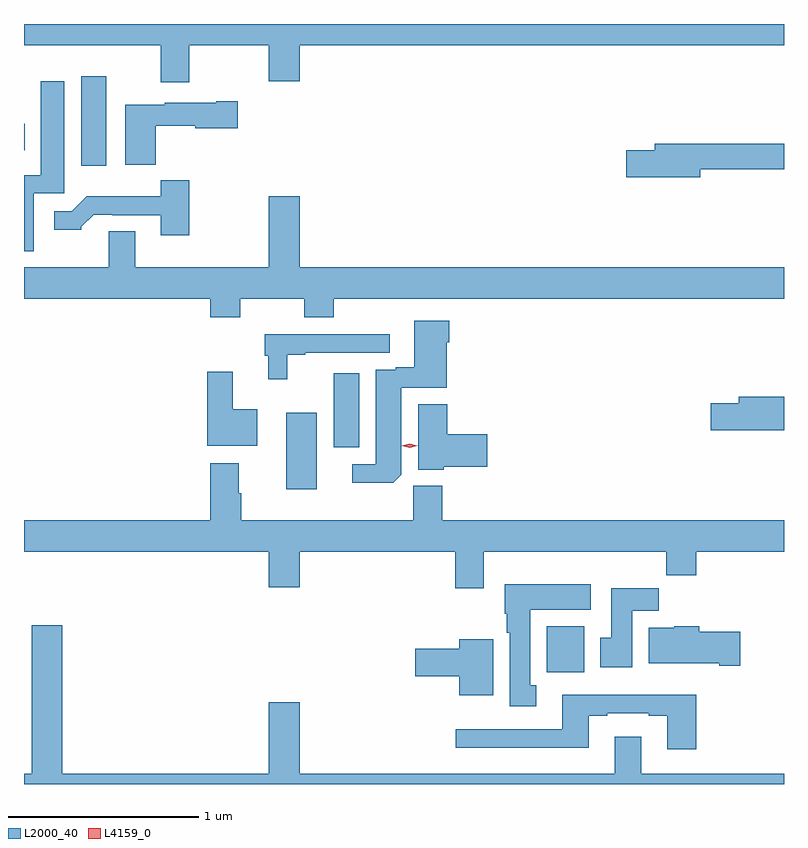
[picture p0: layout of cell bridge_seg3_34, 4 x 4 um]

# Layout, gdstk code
import gdstk
lib = gdstk.Library(unit=1e-6, precision=1e-09)
def R(c, l, rs):  # rectangles x0, y0, x1, y1
    for r in rs: c.add(gdstk.rectangle(r[:2], r[2:], *l))
def P(c, l, *ps):  # polygons
    for p in ps: c.add(gdstk.Polygon(p, *l))
L2000_40 = (2000, 40)
L4159_0 = (4159, 0)

bridge_seg3_34 = lib.new_cell('bridge_seg3_34')
R(bridge_seg3_34, L2000_40, [(717.92,698.948,718.117,699.19), (716.549,699.912,716.71,700.315), (716.798,700.134,716.932,700.522), (715.469,701.616,715.6,702.085), (715.168,701.696,715.171,701.836)])
P(bridge_seg3_34, L2000_40, [(716.037,702.248),(716.456,702.248),(716.456,702.06),(716.62,702.06),(716.62,702.248),(719.168,702.248),(719.168,702.361),(715.168,702.361),(715.168,702.248),(715.889,702.248),(715.889,702.054),(716.037,702.054)],
  [(715.218,701.469),(715.381,701.469),(715.381,702.061),(715.256,702.061),(715.256,701.566),(715.168,701.566),(715.168,701.166),(715.218,701.166)],
  [(715.862,701.825),(716.07,701.825),(716.07,701.813),(716.293,701.813),(716.293,701.955),(716.18,701.955),(716.18,701.947),(715.908,701.947),(715.908,701.935),(715.7,701.935),(715.7,701.621),(715.862,701.621)],
  [(718.726,701.596),(719.168,701.596),(719.168,701.732),(718.487,701.732),(718.487,701.696),(718.338,701.696),(718.338,701.554),(718.726,701.554)],
  [(716.037,701.539),(715.887,701.539),(715.887,701.455),(715.498,701.455),(715.419,701.376),(715.326,701.376),(715.326,701.279),(715.47,701.279),(715.47,701.294),(715.534,701.358),(715.633,701.358),(715.633,701.355),(715.889,701.355),(715.889,701.25),(716.037,701.25)],
  [(716.307,700.916),(716.644,700.916),(716.644,700.817),(716.799,700.817),(716.799,700.916),(719.168,700.916),(719.168,701.08),(716.62,701.08),(716.62,701.455),(716.456,701.455),(716.456,701.08),(715.753,701.08),(715.753,701.27),(715.613,701.27),(715.613,701.08),(715.168,701.08),(715.168,700.916),(716.147,700.916),(716.147,700.817),(716.307,700.817)],
  [(717.154,699.988),(717.154,700.446),(717.394,700.446),(717.394,700.685),(717.407,700.685),(717.407,700.798),(717.221,700.798),(717.221,700.555),(717.125,700.555),(717.125,700.542),(717.02,700.542),(717.02,700.044),(716.895,700.044),(716.895,699.947),(717.112,699.947)],
  [(716.553,700.62),(716.647,700.62),(716.647,700.632),(717.094,700.632),(717.094,700.728),(716.434,700.728),(716.434,700.614),(716.453,700.614),(716.453,700.491),(716.553,700.491)],
  [(716.395,700.333),(716.266,700.333),(716.266,700.531),(716.132,700.531),(716.132,700.142),(716.395,700.142)],
  [(719.168,700.4),(718.931,700.4),(718.931,700.364),(718.782,700.364),(718.782,700.222),(719.168,700.222)],
  [(717.378,700.031),(717.607,700.031),(717.607,700.202),(717.395,700.202),(717.395,700.361),(717.242,700.361),(717.242,700.016),(717.378,700.016)],
  [(717.589,699.584),(718.549,699.584),(718.549,699.46),(718.706,699.46),(718.706,699.584),(719.168,699.584),(719.168,699.748),(717.368,699.748),(717.368,699.93),(717.217,699.93),(717.217,699.748),(716.312,699.748),(716.312,699.89),(716.299,699.89),(716.299,700.048),(716.147,700.048),(716.147,699.748),(715.168,699.748),(715.168,699.584),(716.456,699.584),(716.456,699.396),(716.62,699.396),(716.62,699.584),(717.437,699.584),(717.437,699.39),(717.589,699.39)],
  [(717.865,698.882),(717.832,698.882),(717.832,699.278),(718.15,699.278),(718.15,699.412),(717.698,699.412),(717.698,699.258),(717.71,699.258),(717.71,699.158),(717.725,699.158),(717.725,698.769),(717.865,698.769)],
  [(718.369,699.272),(718.508,699.272),(718.508,699.391),(718.259,699.391),(718.259,699.132),(718.202,699.132),(718.202,698.976),(718.369,698.976)],
  [(719.168,698.416),(718.417,698.416),(718.417,698.611),(718.277,698.611),(718.277,698.416),(716.62,698.416),(716.62,698.791),(716.456,698.791),(716.456,698.416),(715.37,698.416),(715.37,699.196),(715.21,699.196),(715.21,698.416),(715.168,698.416),(715.168,698.361),(719.168,698.361)],
  [(718.939,699.162),(718.721,699.162),(718.721,699.19),(718.59,699.19),(718.59,699.184),(718.457,699.184),(718.457,698.996),(718.826,698.996),(718.826,698.984),(718.939,698.984)],
  [(717.637,699.124),(717.458,699.124),(717.458,699.074),(717.228,699.074),(717.228,698.927),(717.458,698.927),(717.458,698.828),(717.637,698.828)],
  [(718.706,698.83),(718.001,698.83),(718.001,698.649),(717.441,698.649),(717.441,698.552),(718.141,698.552),(718.141,698.721),(718.237,698.721),(718.237,698.733),(718.457,698.733),(718.457,698.721),(718.553,698.721),(718.553,698.544),(718.706,698.544)])
P(bridge_seg3_34, L4159_0, [(717.197,700.132),(717.157,700.142),(717.156,700.142),(717.157,700.142),(717.197,700.152),(717.237,700.142),(717.237,700.142),(717.237,700.142)])

lib.write_gds('bridge_seg3_34.gds')
